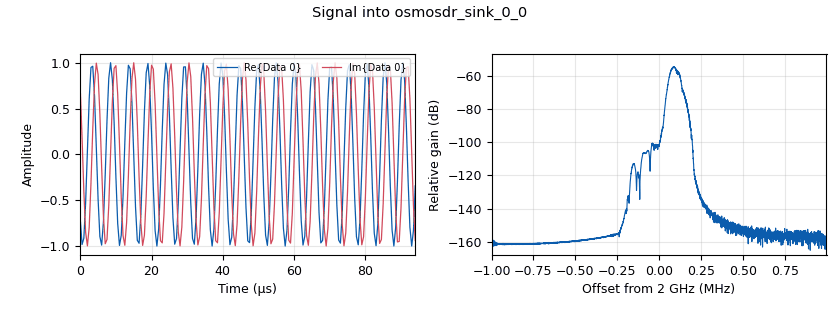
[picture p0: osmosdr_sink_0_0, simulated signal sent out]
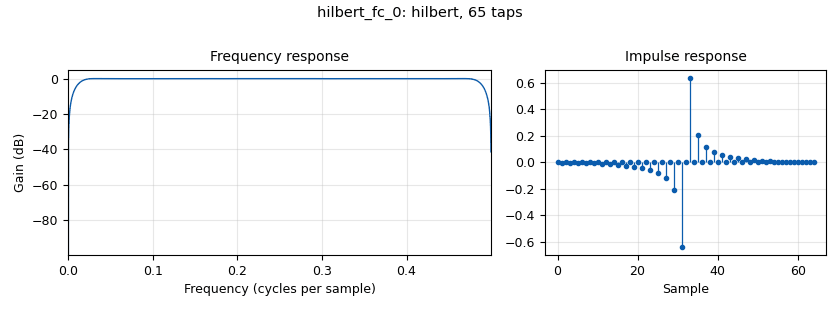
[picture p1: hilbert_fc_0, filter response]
options:
  parameters:
    author: runyingchen
    generate_options: qt_gui
    id: fmcwRadar
    output_language: python
    title: Not titled yet
  states: {}

blocks:
- name: BB_rx
  id: variable_qtgui_range
  parameters:
    label: BB Gain (rx)
    orient: Qt.Horizontal
    start: '10'
    step: '5'
    stop: '100'
    value: '30'
  states: {}
- name: BB_tx
  id: variable_qtgui_range
  parameters:
    label: BB Gain (tx)
    orient: Qt.Horizontal
    start: '10'
    step: '5'
    stop: '100'
    value: '30'
  states: {}
- name: IF_rx
  id: variable_qtgui_range
  parameters:
    label: IF Gain (rx)
    orient: Qt.Horizontal
    start: '10'
    step: '5'
    stop: '100'
    value: '30'
  states: {}
- name: IF_tx
  id: variable_qtgui_range
  parameters:
    label: IF Gain (tx)
    orient: Qt.Horizontal
    start: '10'
    step: '5'
    stop: '100'
    value: '30'
  states: {}
- name: RF_rx
  id: variable_qtgui_range
  parameters:
    label: RF Gain (rx)
    orient: Qt.Horizontal
    start: '10'
    step: '5'
    stop: '100'
    value: '50'
  states: {}
- name: RF_tx
  id: variable_qtgui_range
  parameters:
    label: RF Gain (tx)
    orient: Qt.Horizontal
    start: '10'
    step: '5'
    stop: '100'
    value: '50'
  states: {}
- name: cutoff_freq
  id: variable_qtgui_range
  parameters:
    orient: Qt.Horizontal
    start: '0'
    step: 1e2
    stop: 30e6
    value: '0'
  states: {}
- name: delay_
  id: variable_qtgui_range
  parameters:
    label: Delay
    orient: Qt.Horizontal
    start: '0'
    step: '5'
    stop: 5e3
    value: '50'
  states: {}
- name: radar_freq
  id: variable
  parameters:
    value: 2e9
  states: {}
- name: samp_rate
  id: variable
  parameters:
    value: 10e6
  states: {}
- name: source_freq
  id: variable
  parameters:
    value: 1e3
  states: {}
- name: sweep_bandwidth
  id: variable
  parameters:
    value: 1e6
  states: {}
- name: transition_width
  id: variable
  parameters:
    value: 5e4
  states: {}
- name: tx_rx_sps
  id: variable
  parameters:
    value: 2e6
  states: {}
- name: update_period
  id: variable
  parameters:
    value: '0.5e-4'
  states: {}
- name: analog_sig_source_x_0
  id: analog_sig_source_x
  parameters:
    amp: '1'
    freq: source_freq
    offset: '0'
    phase: '0'
    samp_rate: samp_rate
    type: float
    waveform: analog.GR_TRI_WAVE
  states: {}
- name: blocks_complex_to_real_0
  id: blocks_complex_to_real
  parameters: {}
  states: {}
- name: blocks_complex_to_real_1
  id: blocks_complex_to_real
  parameters: {}
  states: {}
- name: blocks_complex_to_real_1_0
  id: blocks_complex_to_real
  parameters: {}
  states: {}
- name: blocks_delay_0
  id: blocks_delay
  parameters:
    delay: delay_
    type: float
  states: {}
- name: blocks_multiply_const_vxx_0
  id: blocks_multiply_const_vxx
  parameters:
    const: '1'
    type: float
  states: {}
- name: blocks_multiply_const_vxx_0_0
  id: blocks_multiply_const_vxx
  parameters:
    const: '1'
    type: float
  states: {}
- name: blocks_multiply_xx_0
  id: blocks_multiply_xx
  parameters:
    type: float
  states: {}
- name: blocks_stream_to_vector_0
  id: blocks_stream_to_vector
  parameters:
    num_items: '1024'
    type: float
  states: {}
- name: blocks_vco_f_0
  id: blocks_vco_f
  parameters:
    amplitude: '1'
    samp_rate: samp_rate
    sensitivity: 2*math.pi*sweep_bandwidth
  states: {}
- name: blocks_vector_to_stream_0
  id: blocks_vector_to_stream
  parameters:
    num_items: '1024'
    type: complex
  states: {}
- name: epy_block_0
  id: epy_block
  parameters:
    _source_code: |
      """
      Embedded Python Blocks:

      Each time this file is saved, GRC will instantiate the first class it finds
      to get ports and parameters of your block. The arguments to __init__  will
      be the parameters. All of them are required to have default values!
      """

      import numpy as np
      import math
      from gnuradio import gr


      class blk(gr.sync_block):  # other base classes are basic_block, decim_block, interp_block
          """Embedded Python Block example - a simple multiply const"""

          def __init__(self, bw=1e6):  # only default arguments here
              """arguments to this function show up as parameters in GRC"""
              gr.sync_block.__init__(
                  self,
                  name='Detection',   # will show up in GRC
                  in_sig=[np.float32],
                  out_sig=[np.float32]
              )
              # if an attribute with the same name as a parameter is found,
              # a callback is registered (properties work, too).
              self.bw = bw

          def work(self, input_items, output_items):
              """example: multiply with constant"""
              output_items[0][:] = input_items[0] * 3e8 / self.bw / 4 / math.pi
              return len(output_items[0])
    bw: sweep_bandwidth
  states: {}
- name: fft_vxx_0
  id: fft_vxx
  parameters:
    fft_size: '1024'
    forward: 'True'
    shift: 'True'
    type: float
    window: window.blackmanharris(1024)
  states: {}
- name: hilbert_fc_0
  id: hilbert_fc
  parameters:
    num_taps: '65'
    win: firdes.WIN_HAMMING
  states: {}
- name: import_0
  id: import
  parameters:
    imports: import math
  states: {}
- name: low_pass_filter_0
  id: low_pass_filter
  parameters:
    cutoff_freq: cutoff_freq
    gain: '1'
    interp: '1'
    samp_rate: samp_rate
    type: interp_fir_filter_fff
    width: transition_width
    win: firdes.WIN_HAMMING
  states: {}
- name: osmosdr_sink_0_0
  id: osmosdr_sink
  parameters:
    args: '"hackrf=0"'
    bb_gain0: BB_tx
    freq0: radar_freq
    gain0: RF_tx
    if_gain0: IF_tx
    sample_rate: tx_rx_sps
    sync: sync
    type: fc32
  states: {}
- name: osmosdr_source_0
  id: osmosdr_source
  parameters:
    args: '"hackrf=1"'
    bb_gain0: BB_rx
    freq0: radar_freq
    gain0: RF_rx
    gain_mode0: 'False'
    if_gain0: IF_rx
    sample_rate: tx_rx_sps
    sync: sync
    type: fc32
  states: {}
- name: qtgui_freq_sink_x_2
  id: qtgui_freq_sink_x
  parameters:
    bw: samp_rate
    fc: '0'
    fftsize: '1024'
    label1: Transmitted signal
    label2: Received signal
    name: '"T and R"'
    nconnections: '2'
    type: float
    update_time: update_period
    wintype: firdes.WIN_BLACKMAN_hARRIS
  states: {}
- name: qtgui_freq_sink_x_4
  id: qtgui_freq_sink_x
  parameters:
    bw: samp_rate
    fc: '0'
    fftsize: '1024'
    freqhalf: 'False'
    name: '"beat frequency"'
    type: float
    update_time: update_period
    wintype: firdes.WIN_BLACKMAN_hARRIS
  states: {}
- name: qtgui_histogram_sink_x_0
  id: qtgui_histogram_sink_x
  parameters:
    autoscale: 'False'
    bins: '100'
    size: '1024'
    type: float
    update_time: update_period
    xmax: '10'
    xmin: '-10'
  states: {}
- name: qtgui_time_sink_x_1
  id: qtgui_time_sink_x
  parameters:
    label1: Transmitted signal
    label2: Received signal
    name: '"T and R"'
    nconnections: '2'
    size: '1024'
    srate: samp_rate
    type: float
    update_time: update_period
    ymax: '2'
  states: {}
- name: qtgui_time_sink_x_4
  id: qtgui_time_sink_x
  parameters:
    name: '"beat frequency in time domain"'
    size: '1024'
    srate: samp_rate
    type: float
    update_time: update_period
  states: {}

connections:
- [analog_sig_source_x_0, '0', blocks_vco_f_0, '0']
- [blocks_complex_to_real_0, '0', blocks_multiply_xx_0, '0']
- [blocks_complex_to_real_0, '0', qtgui_freq_sink_x_2, '0']
- [blocks_complex_to_real_0, '0', qtgui_time_sink_x_1, '0']
- [blocks_complex_to_real_1, '0', blocks_multiply_const_vxx_0, '0']
- [blocks_complex_to_real_1_0, '0', epy_block_0, '0']
- [blocks_delay_0, '0', blocks_multiply_xx_0, '1']
- [blocks_multiply_const_vxx_0, '0', blocks_delay_0, '0']
- [blocks_multiply_const_vxx_0, '0', qtgui_freq_sink_x_2, '1']
- [blocks_multiply_const_vxx_0, '0', qtgui_time_sink_x_1, '1']
- [blocks_multiply_const_vxx_0_0, '0', qtgui_time_sink_x_4, '0']
- [blocks_multiply_xx_0, '0', low_pass_filter_0, '0']
- [blocks_stream_to_vector_0, '0', fft_vxx_0, '0']
- [blocks_vco_f_0, '0', hilbert_fc_0, '0']
- [blocks_vector_to_stream_0, '0', blocks_complex_to_real_1_0, '0']
- [epy_block_0, '0', qtgui_histogram_sink_x_0, '0']
- [fft_vxx_0, '0', blocks_vector_to_stream_0, '0']
- [hilbert_fc_0, '0', blocks_complex_to_real_0, '0']
- [hilbert_fc_0, '0', osmosdr_sink_0_0, '0']
- [low_pass_filter_0, '0', blocks_multiply_const_vxx_0_0, '0']
- [low_pass_filter_0, '0', blocks_stream_to_vector_0, '0']
- [low_pass_filter_0, '0', qtgui_freq_sink_x_4, '0']
- [osmosdr_source_0, '0', blocks_complex_to_real_1, '0']

metadata:
  file_format: 1
